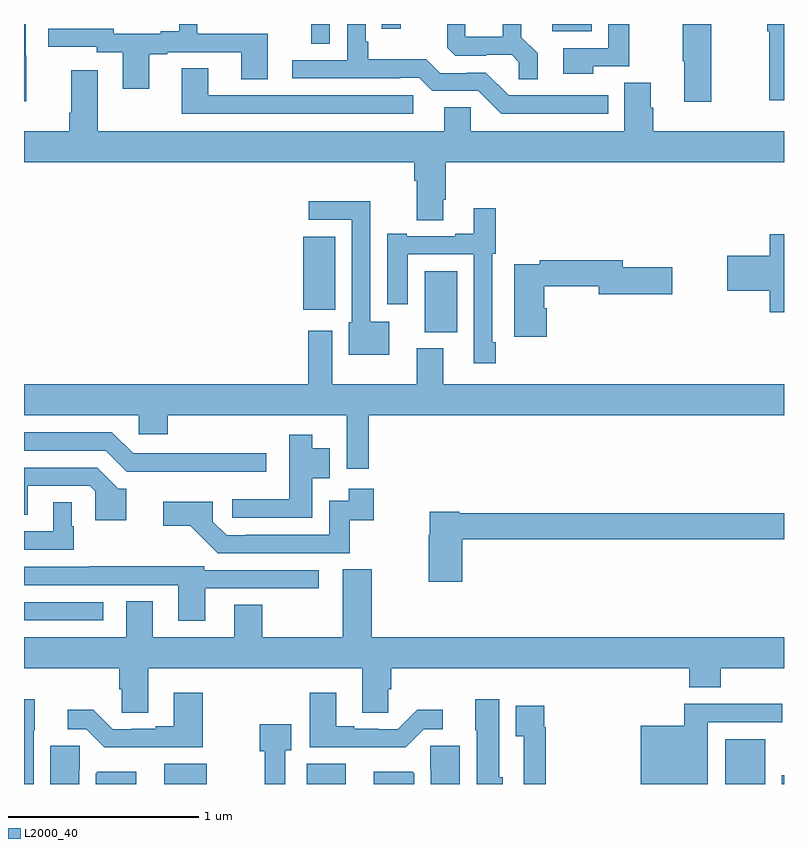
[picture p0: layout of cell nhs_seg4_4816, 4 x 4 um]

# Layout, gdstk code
import gdstk
lib = gdstk.Library(unit=1e-6, precision=1e-09)
def R(c, l, rs):  # rectangles x0, y0, x1, y1
    for r in rs: c.add(gdstk.rectangle(r[:2], r[2:], *l))
def P(c, l, *ps):  # polygons
    for p in ps: c.add(gdstk.Polygon(p, *l))
L2000_40 = (2000, 40)

nhs_seg4_4816 = lib.new_cell('nhs_seg4_4816')
R(nhs_seg4_4816, L2000_40, [(371.738,774.9,371.962,775.006), (372.488,774.9,372.694,775.006), (374.69,774.9,374.902,775.135), (374.987,774.9,375,774.946), (371,775.761,371.416,775.857), (373.109,777.278,373.279,777.598), (372.47,777.395,372.637,777.781), (372.511,778.795,372.609,778.9), (373.781,778.862,373.987,778.9), (372.883,778.875,372.984,778.9)])
P(nhs_seg4_4816, L2000_40, [(373.703,778.745),(373.617,778.831),(373.617,778.9),(373.52,778.9),(373.52,778.834),(373.322,778.834),(373.322,778.9),(373.228,778.9),(373.228,778.775),(373.269,778.734),(373.434,778.734),(373.434,778.737),(373.568,778.737),(373.605,778.7),(373.605,778.609),(373.703,778.609)],
  [(371.659,778.74),(371.755,778.74),(371.755,778.752),(372.143,778.752),(372.143,778.609),(372.283,778.609),(372.283,778.848),(371.913,778.848),(371.913,778.9),(371.816,778.9),(371.816,778.861),(371.72,778.861),(371.72,778.848),(371.472,778.848),(371.472,778.875),(371.127,778.875),(371.127,778.779),(371.382,778.779),(371.382,778.752),(371.519,778.752),(371.519,778.56),(371.659,778.56)],
  [(373.995,778.677),(374.185,778.677),(374.185,778.9),(374.076,778.9),(374.076,778.773),(373.839,778.773),(373.839,778.637),(373.995,778.637)],
  [(371.013,778.733),(371.01,778.733),(371.01,778.9),(371,778.9),(371,778.493),(371.013,778.493)],
  [(374.074,778.524),(373.551,778.524),(373.431,778.644),(373.33,778.644),(373.33,778.641),(373.191,778.641),(373.118,778.714),(372.811,778.714),(372.811,778.807),(372.798,778.807),(372.798,778.9),(372.702,778.9),(372.702,778.71),(372.411,778.71),(372.411,778.614),(372.98,778.614),(372.98,778.617),(373.08,778.617),(373.149,778.548),(373.392,778.548),(373.512,778.428),(374.074,778.428)],
  [(375,778.9),(374.912,778.9),(374.912,778.863),(374.923,778.863),(374.923,778.5),(375,778.5)],
  [(374.616,778.9),(374.467,778.9),(374.467,778.703),(374.474,778.703),(374.474,778.491),(374.616,778.491)],
  [(373.048,778.524),(371.971,778.524),(371.971,778.667),(371.831,778.667),(371.831,778.428),(373.048,778.428)],
  [(373.207,777.976),(373.22,777.976),(373.22,778.172),(375,778.172),(375,778.336),(374.312,778.336),(374.312,778.458),(374.299,778.458),(374.299,778.592),(374.159,778.592),(374.159,778.336),(373.35,778.336),(373.35,778.463),(373.211,778.463),(373.211,778.336),(371.389,778.336),(371.389,778.657),(371.249,778.657),(371.249,778.432),(371.237,778.432),(371.237,778.336),(371,778.336),(371,778.172),(373.055,778.172),(373.055,778.076),(373.067,778.076),(373.067,777.868),(373.207,777.868)],
  [(372.922,777.334),(372.822,777.334),(372.822,777.968),(372.498,777.968),(372.498,777.87),(372.726,777.87),(372.726,777.33),(372.71,777.33),(372.71,777.158),(372.922,777.158)],
  [(373.484,777.226),(373.464,777.226),(373.464,777.69),(373.484,777.69),(373.484,777.931),(373.367,777.931),(373.367,777.796),(373.271,777.796),(373.271,777.783),(373.015,777.783),(373.015,777.796),(372.911,777.796),(372.911,777.426),(373.021,777.426),(373.021,777.687),(373.368,777.687),(373.368,777.114),(373.484,777.114)],
  [(375,777.793),(374.924,777.793),(374.924,777.68),(374.7,777.68),(374.7,777.497),(374.924,777.497),(374.924,777.383),(375,777.383)],
  [(373.751,777.405),(373.738,777.405),(373.738,777.52),(374.024,777.52),(374.024,777.478),(374.413,777.478),(374.413,777.62),(374.152,777.62),(374.152,777.656),(373.714,777.656),(373.714,777.636),(373.58,777.636),(373.58,777.255),(373.751,777.255)],
  [(372.815,776.84),(375,776.84),(375,777.004),(373.207,777.004),(373.207,777.193),(373.067,777.193),(373.067,777.004),(372.622,777.004),(372.622,777.286),(372.497,777.286),(372.497,777.004),(371,777.004),(371,776.84),(371.604,776.84),(371.604,776.742),(371.756,776.742),(371.756,776.84),(372.698,776.84),(372.698,776.559),(372.815,776.559)],
  [(372.274,776.642),(371.839,776.642),(371.839,776.64),(371.574,776.64),(371.463,776.751),(371,776.751),(371,776.655),(371.43,776.655),(371.541,776.544),(371.638,776.544),(371.638,776.543),(372.274,776.543)],
  [(372.517,776.51),(372.61,776.51),(372.61,776.668),(372.517,776.668),(372.517,776.737),(372.395,776.737),(372.395,776.398),(372.096,776.398),(372.096,776.301),(372.517,776.301)],
  [(371.539,776.455),(371.496,776.455),(371.386,776.565),(371,776.565),(371,776.318),(371.02,776.318),(371.02,776.469),(371.347,776.469),(371.375,776.441),(371.375,776.288),(371.539,776.288)],
  [(372.715,776.288),(372.841,776.288),(372.841,776.455),(372.71,776.455),(372.71,776.392),(372.606,776.392),(372.606,776.211),(372.166,776.211),(372.166,776.208),(372.066,776.208),(371.994,776.28),(371.994,776.386),(371.733,776.386),(371.733,776.258),(371.874,776.258),(371.946,776.187),(371.947,776.188),(372.02,776.115),(372.715,776.115)],
  [(371.263,776.256),(371.251,776.256),(371.251,776.384),(371.153,776.384),(371.153,776.229),(371,776.229),(371,776.133),(371.263,776.133)],
  [(373.307,776.188),(375,776.188),(375,776.324),(373.29,776.324),(373.29,776.332),(373.136,776.332),(373.136,776.213),(373.129,776.213),(373.129,775.965),(373.307,775.965)],
  [(371.953,775.929),(372.55,775.929),(372.55,776.025),(371.949,776.025),(371.949,776.045),(371.549,776.045),(371.549,776.046),(371.347,776.046),(371.347,776.043),(371,776.043),(371,775.947),(371.813,775.947),(371.813,775.758),(371.953,775.758)],
  [(371.653,775.508),(372.779,775.508),(372.779,775.276),(372.918,775.276),(372.918,775.398),(372.932,775.398),(372.932,775.508),(374.501,775.508),(374.501,775.409),(374.666,775.409),(374.666,775.508),(375,775.508),(375,775.672),(372.83,775.672),(372.83,776.03),(372.677,776.03),(372.677,775.672),(372.255,775.672),(372.255,775.844),(372.107,775.844),(372.107,775.672),(371.677,775.672),(371.677,775.862),(371.537,775.862),(371.537,775.672),(371,775.672),(371,775.508),(371.501,775.508),(371.501,775.398),(371.514,775.398),(371.514,775.276),(371.653,775.276)],
  [(371.942,775.381),(371.789,775.381),(371.789,775.204),(371.693,775.204),(371.693,775.191),(371.566,775.191),(371.566,775.188),(371.466,775.188),(371.364,775.291),(371.229,775.291),(371.229,775.188),(371.328,775.188),(371.423,775.094),(371.942,775.094)],
  [(373.104,775.188),(373.204,775.188),(373.204,775.291),(373.069,775.291),(372.966,775.188),(372.866,775.188),(372.866,775.191),(372.739,775.191),(372.739,775.204),(372.643,775.204),(372.643,775.381),(372.503,775.381),(372.503,775.094),(373.009,775.094)],
  [(371.05,775.182),(371.056,775.182),(371.056,775.345),(371,775.345),(371,774.9),(371.05,774.9)],
  [(373.519,774.936),(373.501,774.936),(373.501,775.345),(373.376,775.345),(373.376,775.182),(373.382,775.182),(373.382,774.9),(373.519,774.9)],
  [(374.599,775.224),(374.992,775.224),(374.992,775.322),(374.474,775.322),(374.474,775.207),(374.246,775.207),(374.246,774.9),(374.599,774.9)],
  [(373.745,775.199),(373.738,775.199),(373.738,775.312),(373.589,775.312),(373.589,775.151),(373.629,775.151),(373.629,774.9),(373.745,774.9)],
  [(372.375,775.078),(372.406,775.078),(372.406,775.215),(372.241,775.215),(372.241,775.073),(372.267,775.073),(372.267,774.9),(372.375,774.9)],
  [(373.294,775.101),(373.138,775.101),(373.138,774.978),(373.142,774.978),(373.142,774.9),(373.294,774.9)],
  [(371.29,774.978),(371.294,774.978),(371.294,775.101),(371.138,775.101),(371.138,774.9),(371.29,774.9)],
  [(373.054,774.956),(373.046,774.964),(372.842,774.964),(372.842,774.9),(373.054,774.9)],
  [(371.59,774.964),(371.386,774.964),(371.378,774.956),(371.378,774.9),(371.59,774.9)])

lib.write_gds('nhs_seg4_4816.gds')
